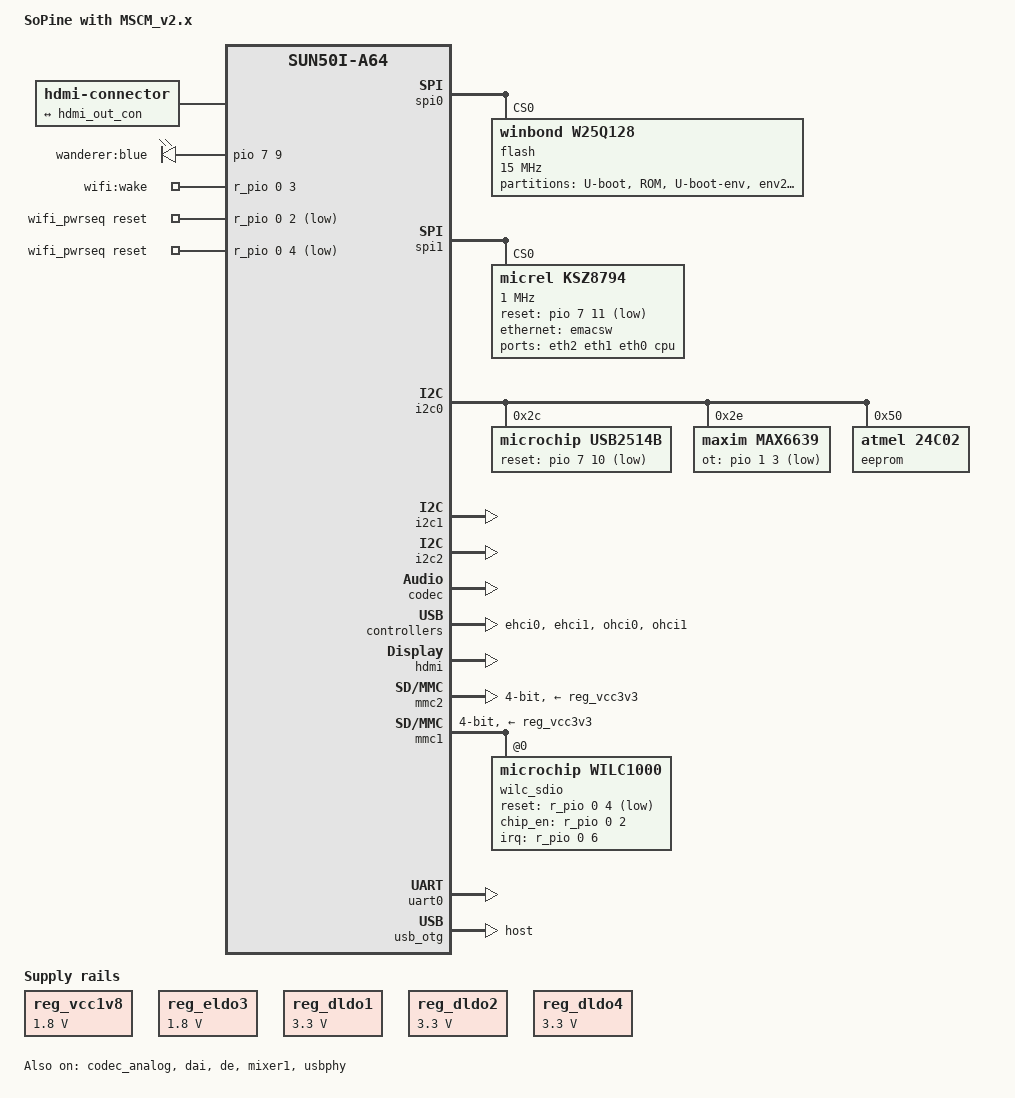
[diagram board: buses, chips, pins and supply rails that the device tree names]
// SPDX-License-Identifier: (GPL-2.0+ OR MIT)
// Copyright (c) 2017 Icenowy Zheng <icenowy@aosc.xyz>
// Based on sun50i-a64-sopine-baseboard.dts, which is:
//   Copyright (c) 2016 ARM Ltd.

/dts-v1/;

#include "sun50i-a64-sopine-mscm.dtsi"
#include <dt-bindings/gpio/gpio.h>
#include <dt-bindings/input/input.h>
#include <dt-bindings/pwm/pwm.h>
#include <dt-bindings/thermal/thermal.h>

/ {
	model = "SoPine with MSCM_v2.x";
	compatible = "pine64,mscm", "pine64,sopine",
		     "allwinner,sun50i-a64";

	/* Holder for manufacturing info passed from boot */
	mfginfo: mfginfo {
		fsn_serial = "";
		test_date = "";
		board_name = "";
	};

	/* Just holders for additional MAC addresses passed from boot */
	vmac1: vmac1 {
	};
	
	vmac2: vmac2 {
	};
	
	aliases {
		ethernet0 = &emac;
		ethernet1 = &vmac1;
		ethernet2 = &vmac2;
		serial0 = &uart0;
		serial1 = &uart1;
		serial2 = &uart2;
		serial3 = &uart3;
		serial4 = &uart4;
	};

	chosen {
		stdout-path = "serial0:115200n8";
	};

	hdmi-connector {
		compatible = "hdmi-connector";
		type = "a";

		port {
			hdmi_con_in: endpoint {
				remote-endpoint = <&hdmi_out_con>;
			};
		};
	};

	reg_vcc1v8: vcc1v8 {
		compatible = "regulator-fixed";
		regulator-name = "vcc1v8";
		regulator-min-microvolt = <1800000>;
		regulator-max-microvolt = <1800000>;
	};
	
	leds {
		compatible = "gpio-leds";
		blue {
			label = "wanderer:blue";
			gpios = <&pio 7 9 GPIO_ACTIVE_HIGH>; /* PH9 */
			default-state = "on";
		};
		wifi_wake {
			label = "wifi:wake";
			gpios = <&r_pio 0 3 GPIO_ACTIVE_HIGH>;
			default-state = "off";
		};
		/*wifi_en {
			label = "wifi:en";
			gpios = <&r_pio 0 2 GPIO_ACTIVE_HIGH>;
			default-state = "on";
		};
		wifi_rst {
			label = "wifi:rst";
			gpios = <&r_pio 0 4 GPIO_ACTIVE_HIGH>;
			default-state = "on";
		};*/
		
	};
	spi0: spi@1c68000 {
		//compatible = "allwinner,sun6i-a31-spi";
		compatible = "allwinner,sun8i-h3-spi";
		reg = <0x01c68000 0x1000>;
		pinctrl-names = "default";
		pinctrl-0 = <&spi0_pins>;
		interrupts = <GIC_SPI 65 IRQ_TYPE_LEVEL_HIGH>;
		clocks = <&ccu CLK_BUS_SPI0>, <&ccu CLK_SPI0>;
		resets = <&ccu RST_BUS_SPI0>;
		clock-names = "ahb", "mod";
		/*dmas = <&dma 23>, <&dma 23>;
		dma-names = "rx", "tx";*/
		status = "okay";
		num-cs = <1>;
		#address-cells = <1>;
		#size-cells = <0>;
		flash: w25q128@0 {
			#address-cells = <1>;
			#size-cells = <1>;
			compatible = "winbond,w25q128", "jedec,spi-nor";
			spi-max-frequency = <15000000>;
			reg = <0>;

			partition@00000 {
				label = "U-boot";
				reg = <0x00000 0xde000>;
				read-only;
			};
	
			partition@de000 {
				label = "ROM";
				reg = <0xde000 0x2000>;
				read-only;
			};
	
			partition@e0000 {
				label = "U-boot-env";
				reg = <0xe0000 0x10000>;
			};
	
			partition@f0000 {
				label = "env2";
				reg = <0xe0000 0x10000>;
			};

			partition@100000 {
				label = "Unused1";
				reg = <0x100000 0x100000>;
			};

		};
	};
	
	/* Option: ethernet via KSZ8794 switch */
	emacsw: ethernet@1c30000r {
		compatible = "allwinner,sun50i-a64-emac", "fsn,wand2-3-mac";
		syscon = <&syscon>;
		reg = <0x01c30000 0x10000>;
		interrupts = <GIC_SPI 82 IRQ_TYPE_LEVEL_HIGH>;
		interrupt-names = "macirq";
		resets = <&ccu RST_BUS_EMAC>;
		reset-names = "stmmaceth";
		clocks = <&ccu CLK_BUS_EMAC>;
		clock-names = "stmmaceth";
		#address-cells = <1>;
		#size-cells = <0>;
		pinctrl-names = "default";
		pinctrl-0 = <&rgmii_pins>;
		phy-mode = "rgmii";
		phy-supply = <&reg_dc1sw>;
		status = "disabled"; /* u-boot will enable if detected */
		fixed-link {
	    	speed = <1000>;
	      	full-duplex;
		};
	};
	
	spi1: spi@01c69000 {
		//compatible = "allwinner,sun6i-a31-spi";
		compatible = "allwinner,sun8i-h3-spi";
		reg = <0x01c69000 0x1000>;
		pinctrl-names = "default";
		pinctrl-0 = <&spi1_pins>;
		interrupts = <GIC_SPI 66 IRQ_TYPE_LEVEL_HIGH>;
		clocks = <&ccu CLK_BUS_SPI1>, <&ccu CLK_SPI1>;
		resets = <&ccu RST_BUS_SPI1>;
		clock-names = "ahb", "mod";
		/*dmas = <&dma 24>, <&dma 24>;
		dma-names = "rx", "tx";*/
		status = "okay";
		num-cs = <1>;
		#address-cells = <1>;
		#size-cells = <0>;
		ksz8794@0 {
			compatible = "micrel,ksz8794";
			spi-max-frequency = <1000000>;
			reg = <0>;
			reset-gpios = <&pio 7 11 GPIO_ACTIVE_LOW>;			

			ports {
				#address-cells = <1>;
				#size-cells = <0>;
				port@0 {
					reg = <0>;
					label = "eth2";
				};
				port@1 {
					reg = <1>;
					label = "eth1";
				};
				port@2 {
					reg = <2>;
					label = "eth0";
				};
				port@3 {
					reg = <3>;
					label = "cpu";
					ethernet = <&emacsw>;
                    fixed-link {
						speed = <1000>;
						full-duplex;
					};
				};
			};
		}; /* end ksz8794 */
	}; /* end spi1 */
	
	/* We sequence the wifi chip reset to enable probing */
	wifi_pwrseq: wifi_pwrseq {
		compatible = "mmc-pwrseq-wilc";
		reset-gpios = <&r_pio 0 2 GPIO_ACTIVE_LOW>, <&r_pio 0 4 GPIO_ACTIVE_LOW>; 
	};
};

/* Hog required GPIOs, e.g. enable USB power */
&pio {
	pullup: pullup {
		pins = "PC7", "PC4", "PB3";
		bias-pull-up;
	};
};

&r_pio {
	input-debounce = <1>; /* 1us */
};

&i2c0 {
	pinctrl-names = "default";
	pinctrl-0 = <&i2c0_pins>;
	status = "okay";
	usb2514b@2c {
		compatible = "microchip,usb2514b";
		reg = <0x2c>;
		reset-gpios = <&pio 7 10 GPIO_ACTIVE_LOW>;
	};
	max6639: max6639@2e {
		compatible = "maxim,max6639";
		reg = <0x2e>;
		ot-gpios = <&pio 1 3 GPIO_ACTIVE_LOW>; /* ~overtemp input */
		thermal-zone = "cpu-thermal"; /* so we can send it events */
		#cooling-cells = <2>;
	};
	eeprom@50 {
		compatible = "atmel,24c02";
		reg = <0x50>;
	};
};

&i2c1 {
	pinctrl-names = "default";
	pinctrl-0 = <&i2c1_pins>;
	status = "okay";
};
	
&i2c2 {
	pinctrl-names = "default";
	pinctrl-0 = <&i2c2_pins>;
	status = "okay";
};

&ac_power_supply {
	status = "okay";
};

&battery_power_supply {
	status = "okay";
};

&codec {
	status = "okay";
};

&codec_analog {
	status = "okay";
};

&dai {
	status = "okay";
};

&de {
	status = "okay";
};

&ehci0 {
	status = "okay";
};

&ehci1 {
	status = "okay";
};

/* Single 100BASE-T via KSZ8081, disabled unless U-boot enables */
&emac {
	compatible = "allwinner,sun50i-a64-emac", "fsn,wand2-1-mac";
	pinctrl-names = "default";
	pinctrl-0 = <&rmii_pins>;
	phy-mode = "rmii";
	phy-handle = <&ext_rmii_phy>;
	status = "disabled"; /* u-boot will enable if detected */
	mdio {
		#address-cells = <1>;
		#size-cells = <0>;
		status = "okay";
		ext_rmii_phy: ethernet-phy@0 {
			compatible = "ethernet-phy-ieee802.3-c22";
			reg = <0>;
		};
	};
};

&hdmi {
	hvcc-supply = <&reg_dldo1>;
	status = "okay";
};

&hdmi_out {
	hdmi_out_con: endpoint {
		remote-endpoint = <&hdmi_con_in>;
	};
};

&mixer1 {
	status = "okay";
};

&mmc2 {
	pinctrl-names = "default";
	pinctrl-0 = <&mmc2_pins>;
	vmmc-supply = <&reg_vcc3v3>;
	vqmmc-supply = <&reg_dcdc1>;
	bus-width = <4>;
	cap-mmc-hw-reset;
	status = "okay";
};

&reg_eldo3 {
	regulator-always-on;
	regulator-min-microvolt = <1800000>;
	regulator-max-microvolt = <1800000>;
	regulator-name = "vdd-1v8-wifi";
};

&mmc1 {
	pinctrl-names = "default";
	pinctrl-0 = <&mmc1_pins>;
	vmmc-supply = <&reg_vcc3v3>;
	/*vqmmc-supply = <&reg_eldo1>;*/
	mmc-pwrseq = <&wifi_pwrseq>;
	bus-width = <4>;
	cap-mmc-hw-reset;
	/*non-removable;*/
	broken-cd;
	max-frequency = <40000000>;
	status = "okay";
	/* wilc1000 is powered by DLDO4 @ 3.3V and ELDO1/3 @ 1.8V - core must rise before/with i/o */
	wilc_sdio: wilc_sdio@0 {
	    compatible = "microchip,wilc1000";
		reg = <0>;
		status = "okay";
		bus-width = <4>;
		gpio_reset = <&r_pio 0 4 GPIO_ACTIVE_LOW>; 
		gpio_chip_en = <&r_pio 0 2 GPIO_ACTIVE_HIGH>;
	    gpio_irq = <&r_pio 0 6 IRQ_TYPE_LEVEL_LOW>;
	};
};

&ohci0 {
	status = "okay";
};

&ohci1 {
	status = "okay";
};

&reg_dc1sw {
	/*
	 * Ethernet PHY needs 30ms to properly power up and some more
	 * to initialize. 100ms should be plenty of time to finish
	 * whole process.
	 */
	 regulator-always-on;
	regulator-enable-ramp-delay = <100000>;
	regulator-name = "vcc-phy";
};

&reg_dldo1 {
	regulator-min-microvolt = <3300000>;
	regulator-max-microvolt = <3300000>;
	regulator-name = "vcc-hdmi";
};

&reg_dldo2 {
	regulator-min-microvolt = <3300000>;
	regulator-max-microvolt = <3300000>;
	regulator-name = "vcc-wifi";
};

&reg_dldo4 {
    regulator-always-on;
	regulator-min-microvolt = <3300000>;
	regulator-max-microvolt = <3300000>;
	regulator-name = "vcc-wifi-io";
};

&simplefb_hdmi {
	vcc-hdmi-supply = <&reg_dldo1>;
};

&sound {
	simple-audio-card,aux-devs = <&codec_analog>;
	simple-audio-card,widgets = "Microphone", "Microphone Jack",
				    "Headphone", "Headphone Jack";
	simple-audio-card,routing =
			"Left DAC", "AIF1 Slot 0 Left",
			"Right DAC", "AIF1 Slot 0 Right",
			"Headphone Jack", "HP",
			"AIF1 Slot 0 Left ADC", "Left ADC",
			"AIF1 Slot 0 Right ADC", "Right ADC",
			"MIC2", "Microphone Jack";
	status = "okay";
};

&uart0 {
	pinctrl-names = "default";
	pinctrl-0 = <&uart0_pb_pins>;
	status = "okay";
};

/* On Pi-2 connector */
&uart2 {
	pinctrl-names = "default";
	pinctrl-0 = <&uart2_pins>;
	status = "disabled";
};

/* On Euler connector */
&uart3 {
	pinctrl-names = "default";
	pinctrl-0 = <&uart3_pins>;
	status = "disabled";
};

/* On Euler connector, RTS/CTS optional */
&uart4 {
	pinctrl-names = "default";
	pinctrl-0 = <&uart4_pins>;
	status = "disabled";
};

&usb_otg {
	dr_mode = "host";
	status = "okay";
};

&usbphy {
	status = "okay";
};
